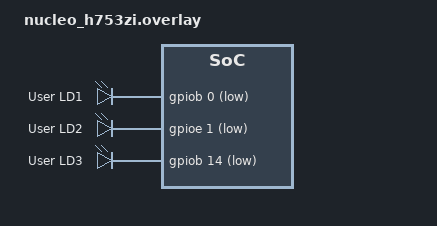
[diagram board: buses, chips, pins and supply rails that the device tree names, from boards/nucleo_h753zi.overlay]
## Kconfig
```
choice
    prompt "Led blink speed"
    default BLINK_SLEEP_1000MS

config BLINK_SLEEP_250MS
    bool "Fast"
config BLINK_SLEEP_1000MS
    bool "Medium/Normal"
config BLINK_SLEEP_2000MS
    bool "Slow"


endchoice

config BLINK_SLEEP_TIME_MS
    int
    default 250 if BLINK_SLEEP_250MS
    default 1000 if BLINK_SLEEP_1000MS
    default 2000 if BLINK_SLEEP_2000MS
    default 500
    
source "Kconfig.zephyr"
rsource "drivers/our_driver/Kconfig"
```

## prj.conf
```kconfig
CONFIG_GPIO=y
CONFIG_LOG=y
CONFIG_OUR_DRIVER=y
CONFIG_BLINK_SLEEP_1000MS=y
CONFIG_SHELL=y
```

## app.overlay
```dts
/{
	our_driver0: our_driver{
		compatible = "our,driver";
		status = "okay";
	};
};
```

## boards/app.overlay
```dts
/{
    aliases{
        led0 = &ledGreen;
    };
    leds:led {
        ledGreen:led1 {
            gpios = <&gpiob 0 GPIO_ACTIVE_LOW>;
            label = "User LD0";
        };
    };
};
```

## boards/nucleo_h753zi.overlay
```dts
/{
    aliases{
        ld1-green=&ledGreen;
        ld2-orange=&ledOrange;
        ld3-red=&ledRed;
    };
    /* Label New Node */
    ledos:led {
        compatible = "gpio-leds";
        /* Nodo */
        ledGreen:led_1 {
            /*gpios = <&gpio2 9 GPIO_ACTIVE_HIGH>; */
            gpios = <&gpiob 0 GPIO_ACTIVE_LOW>; /*nucleo_h753zi */
            label = "User LD1";
        };
        /* Nodo */
        ledOrange:led_2 {
            gpios = <&gpioe 1 GPIO_ACTIVE_LOW>; 
            label = "User LD2";
        };
        /* Nodo */
        ledRed:led3 {
            gpios = <&gpiob 14 GPIO_ACTIVE_LOW>;
            label = "User LD3";
        };
    };
};
```

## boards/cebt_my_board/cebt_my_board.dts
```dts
/dts-v1/;

#include <nxp/nxp_mcxa156.dtsi>


/{
	model = "CEBT My Board";
	compatible = "CEBT,cebt_my_board";

	aliases {
		led0 = &red_led;
		led1 = &green_led;
		led2 = &red_led;
	};

	chosen {
		zephyr,sram = &sram0;
		zephyr,flash = &flash;
		zephyr,flash-controller = &fmu;
		zephyr,code-partition = &slot0_partition;
	};

	leds {
		compatible = "gpio-leds";
		red_led: led_0 {
			gpios = <&gpio3 12 GPIO_ACTIVE_LOW>;
			label = "Red LED";
		};
		green_led: led_1 {
			gpios = <&gpio3 13 GPIO_ACTIVE_LOW>;
			label = "Green LED";
		};
		blue_led: led_2 {
			gpios = <&gpio3 0 GPIO_ACTIVE_LOW>;
			label = "Blue LED";
		};
	};

};

&gpio3 {
	status = "okay";
};

&flash {
	partitions {
		compatible = "fixed-partitions";
		#address-cells = <1>;
		#size-cells = <1>;

		boot_partition: partition@0 {
			label = "mcuboot";
			reg = <0x00000000 DT_SIZE_K(64)>;
			read-only;
		};
		slot0_partition: partition@10000 {
			label = "image-0";
			reg = <0x00010000 DT_SIZE_K(424)>;
		};
		slot1_partition: partition@7a000 {
			label = "image-1";
			reg = <0x0007a000 DT_SIZE_K(424)>;
		};
		storage_partition: partition@e4000 {
			label = "storage";
			reg = <0x000e4000 DT_SIZE_K(112)>;
		};
	};
};
```

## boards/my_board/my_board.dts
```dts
/dts-v1/;

#include <nxp/nxp_mcxa156.dtsi>

/{
	model = "My board";
	compatible = "iomico,my_board";

	aliases{
		led0 = &red_led;
		led1 = &green_led;
		led2 = &red_led;
	};

	chosen{
		zephyr,sram = &sram0;
		zephyr,flash = &flash;
		zephyr,flash-controller = &fmu;
		zephyr,code-partition = &slot0_partition;
	};

	our_driver0: our_driver{
		compatible = "our,driver";
		status = "okay";
	};

	leds {
		compatible = "gpio-leds";
		red_led: led_0 {
			gpios = <&gpio3 12 GPIO_ACTIVE_LOW>;
			label = "Red LED";
		};
		green_led: led_1 {
			gpios = <&gpio3 13 GPIO_ACTIVE_LOW>;
			label = "Green LED";
		};
		blue_led: led_2 {
			gpios = <&gpio3 0 GPIO_ACTIVE_LOW>;
			label = "Blue LED";
		};
	};

};

&gpio3 {
	status = "okay";
};

&flash {
	partitions {
		compatible = "fixed-partitions";
		#address-cells = <1>;
		#size-cells = <1>;

		boot_partition: partition@0 {
			label = "mcuboot";
			reg = <0x00000000 DT_SIZE_K(64)>;
			read-only;
		};
		slot0_partition: partition@10000 {
			label = "image-0";
			reg = <0x00010000 DT_SIZE_K(424)>;
		};
		slot1_partition: partition@7a000 {
			label = "image-1";
			reg = <0x0007a000 DT_SIZE_K(424)>;
		};
		storage_partition: partition@e4000 {
			label = "storage";
			reg = <0x000e4000 DT_SIZE_K(112)>;
		};
	};
};
```

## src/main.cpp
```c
#include <zephyr/drivers/gpio.h>
#include <zephyr/drivers/sensor.h>
#include <zephyr/kernel.h>
#include <zephyr/logging/log.h>
#include <zephyr/device.h>

#define SLEEP_TIME_MS 1000

/* The devicetree node identifier for the "led0" alias. */
//#define LED_NODE DT_ALIAS(led0)

//static const struct gpio_dt_spec led = GPIO_DT_SPEC_GET(LED_NODE, gpios);

LOG_MODULE_REGISTER(main, LOG_LEVEL_INF);

int main(void)
{
    //Identidy the node created in dts file with the name our_driver0
    const struct device* driver = DEVICE_DT_GET(DT_NODELABEL(our_driver0));
    //Measured value container
    struct sensor_value val;

    if (!device_is_ready(driver)) {
        return 0;
    }

    while (1) {
        // Ejecuta sensor_sample_fetch_impl()
        //sensor_sample_fetch(driver);

        // Ejecuta sensor_channel_get_impl()
        sensor_channel_get(driver, SENSOR_CHAN_AMBIENT_TEMP, &val);
        k_msleep(CONFIG_BLINK_SLEEP_TIME_MS);
    }
    return 0;
}
```
